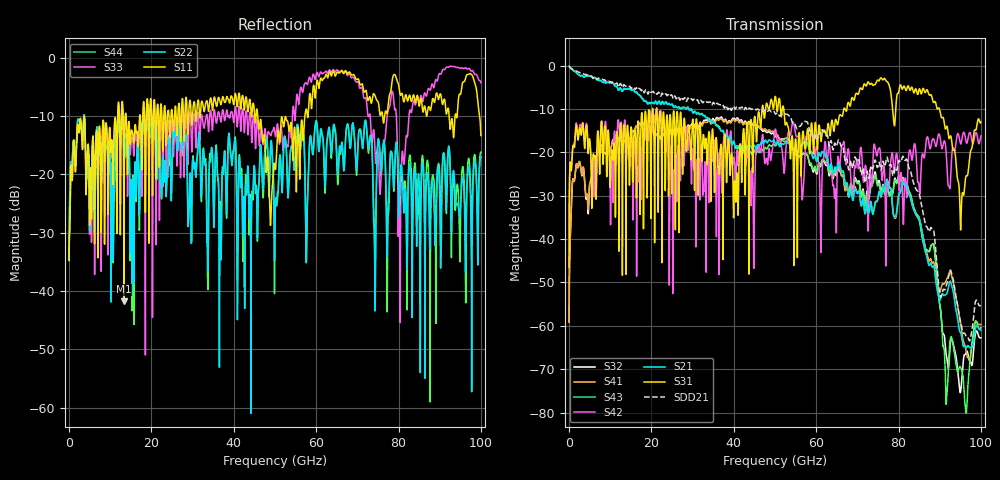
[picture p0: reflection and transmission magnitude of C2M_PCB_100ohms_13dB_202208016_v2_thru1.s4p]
! Info: Touchstone file created by Circ.  Input file=Intel_C2M_200G_3p0in_202208016_staggered.circ
# Hz S RI R 50
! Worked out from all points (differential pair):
!   10000 points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, 10 MHz to 100 GHz, reference 50 ohm
!   strongest paths, dB at 10 MHz, 25.01 GHz, 50.01 GHz, 75.01 GHz, 100 GHz:
!     S31: -46.6, -27.4, -7.2, -3.4, -13.0
!     S21: -0.2, -9.0, -17.8, -30.6, -61.0
!     S42: -46.6, -22.1, -14.8, -19.6, -16.3
!     S43: -0.2, -8.9, -18.5, -27.7, -60.5
!     S41: -59.2, -15.9, -15.9, -30.5, -59.7
!     S32: -59.2, -15.8, -16.3, -27.2, -62.8
!   taken as a pair (ports 1,3 in; 2,4 out), SDD21 dB: -0.1, -6.9, -11.1, -23.3, -55.4
!   lowest |S11| = -41.7 dB at 13.32 GHz (marker M1), VSWR 1.02, Z = 50.8 - j0.23 ohm
!   |S11| at or under -10 dB: start of sweep to 3.658 GHz; 3.696 GHz to 11.81 GHz (8.114 GHz wide, 105 % of centre); 45.81 GHz to 57.26 GHz (11.45 GHz wide, 22.2 % of centre)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
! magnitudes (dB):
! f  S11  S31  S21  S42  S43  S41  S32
! 10 MHz  -34.7  -46.6  -0.2  -46.6  -0.2  -59.2  -59.2
! 2.02 GHz  -11.7  -16.0  -1.9  -15.4  -1.9  -23.2  -23.2
! 13.32 GHz  -41.7  -14.1  -5.3  -15.0  -5.3  -17.4  -17.4
! 65.98 GHz  -2.4  -11.5  -23.9  -20.3  -24.1  -24.9  -25.0
! 80.63 GHz  -6.3  -4.7  -28.5  -24.7  -26.7  -28.8  -26.4
! 91.67 GHz  -9.6  -14.0  -52.7  -21.7  -77.0  -49.3  -67.2
! 100 GHz  -13.3  -13.0  -61.0  -16.3  -60.5  -59.7  -62.8
